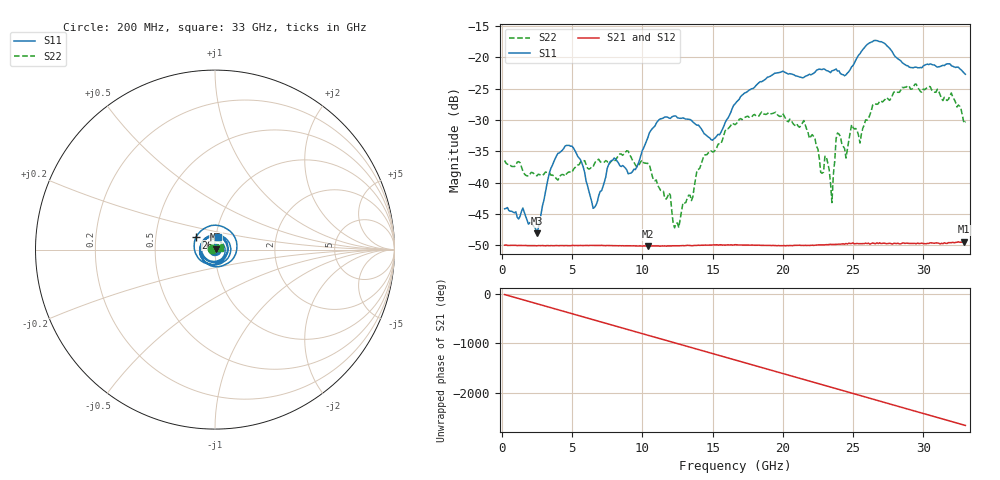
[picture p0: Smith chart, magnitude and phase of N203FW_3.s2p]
# GHZ S RI R 50
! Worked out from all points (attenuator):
!   329 points, 200 MHz to 33 GHz, reference 50 ohm
!   highest |S21| = -49.41 dB at 32.9 GHz (marker M1); lowest = -50.1 dB at 10.4 GHz (marker M2)
!   lowest |S11| = -48.0 dB at 2.5 GHz (marker M3), VSWR 1.01, Z = 50.3 + j0.23 ohm
!   |S11| at or under -10 dB: start of sweep to end of sweep
!   |S22| runs from -47.2 to -24.3 dB; largest |S21 - S12| = 8.8e-05
!   S11 on the Smith chart (normalised r, x): 200 MHz: 1.01, +0.00; 26 GHz: 0.80, +0.11; 33 GHz: 1.02, +0.15
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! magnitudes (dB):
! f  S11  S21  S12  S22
! 200 MHz  -44.2  -50.0  -49.9  -36.5
! 2.5 GHz  -48.0  -50.1  -50.0  -38.9
! 4 GHz  -35.3  -50.0  -50.0  -39.6
! 5.7 GHz  -36.9  -50.0  -50.0  -36.6
! 6.5 GHz  -44.1  -50.0  -50.0  -37.5
! 7.7 GHz  -36.7  -50.0  -50.0  -36.8
! 9.2 GHz  -38.5  -50.1  -50.0  -35.9
! 10.4 GHz  -32.8  -50.1  -50.1  -36.9
! 11.2 GHz  -30.0  -50.1  -50.1  -40.8
! 12.6 GHz  -29.7  -50.1  -50.1  -47.2
! 15 GHz  -33.2  -49.9  -49.9  -35.1
! 16.6 GHz  -27.4  -49.9  -49.9  -30.8
! 22.1 GHz  -22.7  -50.0  -50.0  -32.3
! 23.1 GHz  -22.1  -49.9  -49.9  -35.8
! 23.5 GHz  -22.2  -49.9  -49.8  -43.2
! 23.9 GHz  -22.2  -49.8  -49.8  -32.1
! 24.5 GHz  -22.8  -49.7  -49.7  -36.1
! 26 GHz  -18.0  -49.7  -49.7  -30.0
! 27.6 GHz  -18.6  -49.7  -49.7  -26.9
! 32 GHz  -21.3  -49.6  -49.5  -25.7
! 32.9 GHz  -22.5  -49.4  -49.4  -30.5
! 33 GHz  -22.7  -49.4  -49.5  -30.3
